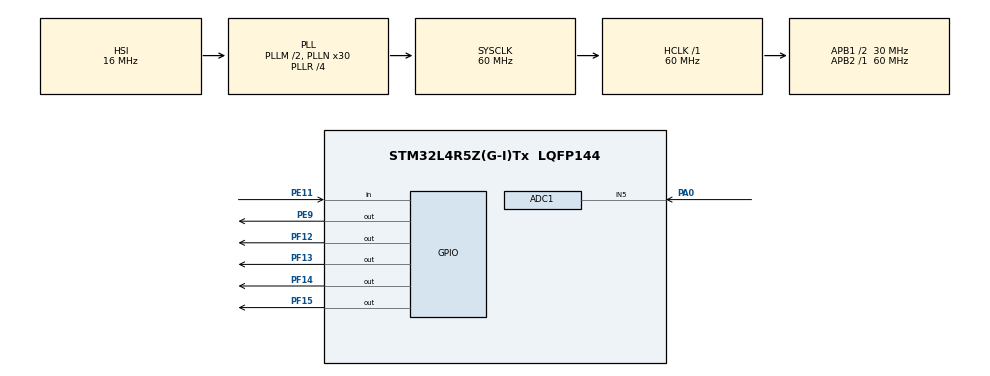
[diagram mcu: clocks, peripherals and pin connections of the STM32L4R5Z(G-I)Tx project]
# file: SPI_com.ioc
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ADC1.Channel-0\#ChannelRegularConversion=ADC_CHANNEL_5
ADC1.NbrOfConversionFlag=1
ADC1.OffsetNumber-0\#ChannelRegularConversion=ADC_OFFSET_NONE
ADC1.Rank-0\#ChannelRegularConversion=1
ADC1.SamplingTime-0\#ChannelRegularConversion=ADC_SAMPLETIME_2CYCLES_5
ADC1.master=1
Mcu.Family=STM32L4
Mcu.Name=STM32L4R5Z(G-I)Tx
Mcu.Package=LQFP144
NVIC.PriorityGroup=NVIC_PRIORITYGROUP_4
NVIC.TIM3_IRQn=true\:0\:0\:false\:false\:true\:true\:true\:true
PA0.Signal=ADCx_IN5
PE11.Signal=GPIO_Input
PE9.Signal=GPIO_Output
PF12.Signal=GPIO_Output
PF13.PinState=GPIO_PIN_SET
PF13.Signal=GPIO_Output
PF14.Signal=GPIO_Output
PF15.Signal=GPIO_Output
ProjectManager.HeapSize=0x200
ProjectManager.StackSize=0x400
ProjectManager.TargetToolchain=STM32CubeIDE
RCC.48MHZClocksFreq_Value=24000000
RCC.ADCFreq_Value=96000000
RCC.AHBFreq_Value=60000000
RCC.APB1CLKDivider=RCC_HCLK_DIV2
RCC.APB1Freq_Value=30000000
RCC.APB1TimFreq_Value=60000000
RCC.APB2Freq_Value=60000000
RCC.APB2TimFreq_Value=60000000
RCC.CK48CLockSelection=RCC_USBCLKSOURCE_HSI48
RCC.CortexFreq_Value=60000000
RCC.HCLKFreq_Value=60000000
RCC.HSE_VALUE=8000000
RCC.HSI48_VALUE=48000000
RCC.HSI_VALUE=16000000
RCC.LSE_VALUE=32768
RCC.MSI_VALUE=4000000
RCC.PLLM1=2
RCC.PLLMUL=RCC_PLL_MUL9
RCC.PLLN=30
RCC.PLLR=RCC_PLLR_DIV4
RCC.PLLSAI1N=12
RCC.PLLSourceVirtual=RCC_PLLSOURCE_HSI
RCC.PRESCALERUSB=RCC_USBCLKSOURCE_PLL_DIV1_5
RCC.SYSCLKFreq_VALUE=60000000
RCC.SYSCLKSource=RCC_SYSCLKSOURCE_PLLCLK
RCC.SYSCLKSourceVirtual=RCC_SYSCLKSOURCE_PLLCLK
RCC.USBFreq_Value=48000000
RCC.VCOOutputFreq_Value=240000000
SH.ADCx_IN5.0=ADC1_IN5,IN5-Single-Ended
TIM3.Period=60000-1
TIM3.Prescaler=0
TIM3.TIM_MasterOutputTrigger=TIM_TRGO_RESET
VP_TIM3_VS_ClockSourceITR.Mode=TriggerSource_ITR0
VP_TIM3_VS_ControllerModeReset.Mode=Reset Mode
board=NUCLEO-L4R5ZI

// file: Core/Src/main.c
/* USER CODE BEGIN Header */
/**
  ******************************************************************************
  * @file           : main.c
  * @brief          : Main program body
  ******************************************************************************
  * @attention
  *
  * Copyright (c) 2023 STMicroelectronics.
  * All rights reserved.
  *
  * This software is licensed under terms that can be found in the LICENSE file
  * in the root directory of this software component.
  * If no LICENSE file comes with this software, it is provided AS-IS.
  *
  ******************************************************************************
  */
/* USER CODE END Header */
#include "main.h"

/* USER CODE BEGIN Includes */
#include <stdio.h>
/* USER CODE END Includes */

/* USER CODE BEGIN PD */
#define SHUTDOWN_0         0x0C00
#define SHUTDOWN_1         0x0C01
#define TEST_DISPLAY_EXIT  0x0FFC
#define TEST_DISPLAY_ENTER 0x0FFD
#define DECODE_MODE        0x0900
#define INTENSITY          0x0A05
#define SCAN_LIMIT         0x0B0F
/* USER CODE END PD */

ADC_HandleTypeDef hadc1;

TIM_HandleTypeDef htim3;

void SystemClock_Config(void);
static void MX_GPIO_Init(void);
static void MX_TIM3_Init(void);
static void MX_ADC1_Init(void);
/* USER CODE BEGIN PFP */
void SPI_init_device1();
void SPI_stop_device1();
void SPI_init_device2();
void SPI_stop_device2();
void SPI_init(uint8_t deviceNr);
void SPI_stop(uint8_t deviceNr);

void SPI_writeBit(uint16_t bit);
void SPI_writeData(uint16_t data[], uint8_t dataSize, uint8_t deviceNr);
void SPI_writeWord(uint16_t word, uint8_t deviceNr);

void SPI_draw(char img[8], uint8_t deviceNr);
void SPI_draw_numbers();
char (*numberSelect(int nr));

void ResetFunc();
void blink_LED();
/* USER CODE END PFP */

/* USER CODE BEGIN 0 */

unsigned long counter = 0;
int seconds = 60;
char zero[8]={0b00111100,
  		  	  0b01100110,
  			  0b01100110,
  			  0b01100110,
  		      0b01100110,
  			  0b01100110,
  			  0b01100110,
  			  0b00111100};

char one[8]={ 0b00111000,
		  	  0b01111000,
			  0b00011000,
			  0b00011000,
		      0b00011000,
			  0b00011000,
			  0b00011000,
			  0b01111110};

char two[8]={ 0b00111100,
		  	  0b01100110,
			  0b00000110,
			  0b00001100,
		      0b00011000,
			  0b00110000,
			  0b01111110,
			  0b01111110};

char three[8]={0b00111100,
		  	   0b01100110,
			   0b00000110,
			   0b00011110,
		       0b00011100,
			   0b00000110,
			   0b01100110,
			   0b00111100};

char four[8]={0b00001100,
		  	  0b00011100,
			  0b00101100,
			  0b01101100,
		      0b01111110,
			  0b00001100,
			  0b00001100,
			  0b00011110};

char five[8]={0b01111110,
		  	  0b01111110,
			  0b01100000,
			  0b01111100,
		      0b00000110,
			  0b00000110,
			  0b01100110,
			  0b01111100};

char six[8]={ 0b00111100,
		  	  0b01100110,
			  0b01100000,
			  0b01100000,
		      0b01111100,
			  0b01100110,
			  0b01100110,
			  0b00111100};

char seven[8]={0b01111110,
		  	   0b01100110,
			   0b00000110,
			   0b00000110,
		       0b00001100,
			   0b00011000,
			   0b00110000,
			   0b00110000};

char eight[8]={0b00111100,
		  	   0b01100110,
			   0b01100110,
			   0b00111100,
		       0b00111100,
			   0b01100110,
			   0b01100110,
			   0b00111100};

char nine[8]={0b00111100,
		  	  0b01100110,
			  0b01100110,
			  0b00111110,
		      0b00000110,
			  0b00000110,
			  0b01100110,
			  0b00111100};

char Skull [8]={0b00000000,0b01111100,0b11001111,0b11001101,0b11111101,0b11001101,0b11001111,0b01111100};
//char Heart [8]={0b01100000,0b11110000,0b11111000,0b01111100,0b01111100,0b11111000,0b11110000,0b01100000};

/* USER CODE END 0 */

int main(void)
{

  /* MCU Configuration--------------------------------------------------------*/

  /* Reset of all peripherals, Initializes the Flash interface and the Systick. */
  HAL_Init();

  /* Configure the system clock */
  SystemClock_Config();

  /* Initialize all configured peripherals */
  MX_GPIO_Init();
  MX_TIM3_Init();
  MX_ADC1_Init();
  /* USER CODE BEGIN 2 */
  const uint8_t  dataSize = 6 ;
  //instruction list for starting the displays
  uint16_t data1[6] = {TEST_DISPLAY_ENTER, TEST_DISPLAY_EXIT, DECODE_MODE, INTENSITY, SCAN_LIMIT, SHUTDOWN_1};
  //writing the startup instructions for each display
  SPI_writeData(data1, dataSize,1);
  SPI_writeData(data1, dataSize,2);
  HAL_TIM_Base_Start_IT(&htim3);
  /* USER CODE END 2 */

  /* Infinite loop */
  while (1)
  {

    /* USER CODE BEGIN 3 */
	  //display refresh
	  SPI_draw_numbers();
	  HAL_Delay(500);
	  //blink_LED();
  }
  /* USER CODE END 3 */
}

void SystemClock_Config(void)
{
  RCC_OscInitTypeDef RCC_OscInitStruct = {0};
  RCC_ClkInitTypeDef RCC_ClkInitStruct = {0};

  /** Configure the main internal regulator output voltage
  */
  if (HAL_PWREx_ControlVoltageScaling(PWR_REGULATOR_VOLTAGE_SCALE1) != HAL_OK)
  {
    Error_Handler();
  }

  /** Initializes the RCC Oscillators according to the specified parameters
  * in the RCC_OscInitTypeDef structure.
  */
  RCC_OscInitStruct.OscillatorType = RCC_OSCILLATORTYPE_HSI;
  RCC_OscInitStruct.HSIState = RCC_HSI_ON;
  RCC_OscInitStruct.HSICalibrationValue = RCC_HSICALIBRATION_DEFAULT;
  RCC_OscInitStruct.PLL.PLLState = RCC_PLL_ON;
  RCC_OscInitStruct.PLL.PLLSource = RCC_PLLSOURCE_HSI;
  RCC_OscInitStruct.PLL.PLLM = 2;
  RCC_OscInitStruct.PLL.PLLN = 30;
  RCC_OscInitStruct.PLL.PLLP = RCC_PLLP_DIV2;
  RCC_OscInitStruct.PLL.PLLQ = RCC_PLLQ_DIV2;
  RCC_OscInitStruct.PLL.PLLR = RCC_PLLR_DIV4;
  if (HAL_RCC_OscConfig(&RCC_OscInitStruct) != HAL_OK)
  {
    Error_Handler();
  }

  /** Initializes the CPU, AHB and APB buses clocks
  */
  RCC_ClkInitStruct.ClockType = RCC_CLOCKTYPE_HCLK|RCC_CLOCKTYPE_SYSCLK
                              |RCC_CLOCKTYPE_PCLK1|RCC_CLOCKTYPE_PCLK2;
  RCC_ClkInitStruct.SYSCLKSource = RCC_SYSCLKSOURCE_PLLCLK;
  RCC_ClkInitStruct.AHBCLKDivider = RCC_SYSCLK_DIV1;
  RCC_ClkInitStruct.APB1CLKDivider = RCC_HCLK_DIV2;
  RCC_ClkInitStruct.APB2CLKDivider = RCC_HCLK_DIV1;

  if (HAL_RCC_ClockConfig(&RCC_ClkInitStruct, FLASH_LATENCY_2) != HAL_OK)
  {
    Error_Handler();
  }
}

static void MX_ADC1_Init(void)
{

  ADC_ChannelConfTypeDef sConfig = {0};

  /** Common config
  */
  hadc1.Instance = ADC1;
  hadc1.Init.ClockPrescaler = ADC_CLOCK_ASYNC_DIV2;
  hadc1.Init.Resolution = ADC_RESOLUTION_12B;
  hadc1.Init.DataAlign = ADC_DATAALIGN_RIGHT;
  hadc1.Init.ScanConvMode = ADC_SCAN_DISABLE;
  hadc1.Init.EOCSelection = ADC_EOC_SINGLE_CONV;
  hadc1.Init.LowPowerAutoWait = DISABLE;
  hadc1.Init.ContinuousConvMode = DISABLE;
  hadc1.Init.NbrOfConversion = 1;
  hadc1.Init.DiscontinuousConvMode = DISABLE;
  hadc1.Init.ExternalTrigConv = ADC_SOFTWARE_START;
  hadc1.Init.ExternalTrigConvEdge = ADC_EXTERNALTRIGCONVEDGE_NONE;
  hadc1.Init.DMAContinuousRequests = DISABLE;
  hadc1.Init.Overrun = ADC_OVR_DATA_PRESERVED;
  hadc1.Init.OversamplingMode = DISABLE;
  if (HAL_ADC_Init(&hadc1) != HAL_OK)
  {
    Error_Handler();
  }

  /** Configure Regular Channel
  */
  sConfig.Channel = ADC_CHANNEL_5;
  sConfig.Rank = ADC_REGULAR_RANK_1;
  sConfig.SamplingTime = ADC_SAMPLETIME_2CYCLES_5;
  sConfig.SingleDiff = ADC_SINGLE_ENDED;
  sConfig.OffsetNumber = ADC_OFFSET_NONE;
  sConfig.Offset = 0;
  if (HAL_ADC_ConfigChannel(&hadc1, &sConfig) != HAL_OK)
  {
    Error_Handler();
  }

}

static void MX_TIM3_Init(void)
{

  TIM_SlaveConfigTypeDef sSlaveConfig = {0};
  TIM_MasterConfigTypeDef sMasterConfig = {0};

  htim3.Instance = TIM3;
  htim3.Init.Prescaler = 0;
  htim3.Init.CounterMode = TIM_COUNTERMODE_UP;
  htim3.Init.Period = 60000-1;
  htim3.Init.ClockDivision = TIM_CLOCKDIVISION_DIV1;
  htim3.Init.AutoReloadPreload = TIM_AUTORELOAD_PRELOAD_DISABLE;
  if (HAL_TIM_Base_Init(&htim3) != HAL_OK)
  {
    Error_Handler();
  }
  sSlaveConfig.SlaveMode = TIM_SLAVEMODE_RESET;
  sSlaveConfig.InputTrigger = TIM_TS_ITR0;
  if (HAL_TIM_SlaveConfigSynchro(&htim3, &sSlaveConfig) != HAL_OK)
  {
    Error_Handler();
  }
  sMasterConfig.MasterOutputTrigger = TIM_TRGO_RESET;
  sMasterConfig.MasterSlaveMode = TIM_MASTERSLAVEMODE_DISABLE;
  if (HAL_TIMEx_MasterConfigSynchronization(&htim3, &sMasterConfig) != HAL_OK)
  {
    Error_Handler();
  }

}

static void MX_GPIO_Init(void)
{
  GPIO_InitTypeDef GPIO_InitStruct = {0};

  /* GPIO Ports Clock Enable */
  __HAL_RCC_GPIOA_CLK_ENABLE();
  __HAL_RCC_GPIOF_CLK_ENABLE();
  __HAL_RCC_GPIOE_CLK_ENABLE();

  /*Configure GPIO pin Output Level */
  HAL_GPIO_WritePin(GPIOF, GPIO_PIN_12|GPIO_PIN_14|GPIO_PIN_15, GPIO_PIN_RESET);

  /*Configure GPIO pin Output Level */
  HAL_GPIO_WritePin(GPIOF, GPIO_PIN_13, GPIO_PIN_SET);

  /*Configure GPIO pin Output Level */
  HAL_GPIO_WritePin(GPIOE, GPIO_PIN_9, GPIO_PIN_RESET);

  /*Configure GPIO pins : PF12 PF13 PF14 PF15 */
  GPIO_InitStruct.Pin = GPIO_PIN_12|GPIO_PIN_13|GPIO_PIN_14|GPIO_PIN_15;
  GPIO_InitStruct.Mode = GPIO_MODE_OUTPUT_PP;
  GPIO_InitStruct.Pull = GPIO_NOPULL;
  GPIO_InitStruct.Speed = GPIO_SPEED_FREQ_LOW;
  HAL_GPIO_Init(GPIOF, &GPIO_InitStruct);

  /*Configure GPIO pin : PE9 */
  GPIO_InitStruct.Pin = GPIO_PIN_9;
  GPIO_InitStruct.Mode = GPIO_MODE_OUTPUT_PP;
  GPIO_InitStruct.Pull = GPIO_NOPULL;
  GPIO_InitStruct.Speed = GPIO_SPEED_FREQ_LOW;
  HAL_GPIO_Init(GPIOE, &GPIO_InitStruct);

  /*Configure GPIO pin : PE11 */
  GPIO_InitStruct.Pin = GPIO_PIN_11;
  GPIO_InitStruct.Mode = GPIO_MODE_INPUT;
  GPIO_InitStruct.Pull = GPIO_NOPULL;
  HAL_GPIO_Init(GPIOE, &GPIO_InitStruct);

}

/* USER CODE BEGIN 4 */
/* this section contains the functions necessary for selecting and disabling a display
 * SPI_init_device1() -- moves chip select from high to low for device 1
 * SPI_init_device2() -- moves chip select from high to low for device 2
 * SPI_stop_device1() -- on the rising edge of the clock puts the CS signal on high disabling device 1
 * SPI_stop_device2() -- on the rising edge of the clock puts the CS signal on high disabling device 2
 *
 * SPI_init(uint8_t deviceNr) -- selects the right device according to the parameter
 * SPI_stop(uint8_t deviceNr) -- disables the right device according to the parameter
*/
//-------------------------------------------------------------------------------------------------
void SPI_init_device1()
{
	HAL_GPIO_WritePin(GPIOF, GPIO_PIN_13, GPIO_PIN_SET);
	HAL_GPIO_WritePin(GPIOF, GPIO_PIN_13, GPIO_PIN_RESET);
}

void SPI_stop_device1()
{
	HAL_GPIO_WritePin(GPIOE, GPIO_PIN_9, GPIO_PIN_RESET);
	HAL_GPIO_WritePin(GPIOF, GPIO_PIN_13, GPIO_PIN_SET);
	HAL_GPIO_WritePin(GPIOE, GPIO_PIN_9, GPIO_PIN_SET);
}

void SPI_init_device2()
{
	HAL_GPIO_WritePin(GPIOF, GPIO_PIN_15, GPIO_PIN_SET);
	HAL_GPIO_WritePin(GPIOF, GPIO_PIN_15, GPIO_PIN_RESET);
}

void SPI_stop_device2()
{
	HAL_GPIO_WritePin(GPIOE, GPIO_PIN_9, GPIO_PIN_RESET);
	HAL_GPIO_WritePin(GPIOF, GPIO_PIN_15, GPIO_PIN_SET);
	HAL_GPIO_WritePin(GPIOE, GPIO_PIN_9, GPIO_PIN_SET);
}

void SPI_init(uint8_t deviceNr)
{
	if(deviceNr == 1)
	{
		SPI_init_device1();
	}
	else
	{
		SPI_init_device2();
	}
}

void SPI_stop(uint8_t deviceNr)
{
	if(deviceNr == 1)
	{
		SPI_stop_device1();
	}
	else
	{
		SPI_stop_device2();
	}
}
//-------------------------------------------------------------------------------------------------

/* this section contains the functions necessary in writing the data, and establishing the SPI sync
 * SPI_writeBit(uint16_t bit)
 * 		-- puts the clock on low, writes the bit it received, then puts the clock back on high
 * 		   so that the data is stable and written on the rising edge
 *
 * SPI_writeWord(uint16_t word,uint8_t deviceNr)
 * 		-- writes a 16bit long data packet, starting with the SPI_init(deviceNr); function and ,
 * 		   after the data is sent bit by bit starting with MSB, it calls the SPI_stop(deviceNr); function
 *
 * void SPI_writeData(uint16_t *data, uint8_t dataSize, uint8_t deviceNr)
 * 		-- loops through every word in the data array
*/
//-------------------------------------------------------------------------------------------------
void SPI_writeBit(uint16_t bit)
{
	HAL_GPIO_WritePin(GPIOE, GPIO_PIN_9, GPIO_PIN_RESET);
		if(bit == 0)
		{
			HAL_GPIO_WritePin(GPIOF, GPIO_PIN_14, GPIO_PIN_RESET);
		}
		else
		{
			HAL_GPIO_WritePin(GPIOF, GPIO_PIN_14, GPIO_PIN_SET);
		}
	HAL_GPIO_WritePin(GPIOE, GPIO_PIN_9, GPIO_PIN_SET);
}

void SPI_writeWord(uint16_t word,uint8_t deviceNr)
{
	SPI_init(deviceNr);
	for(uint8_t i=0; i<16 ; i++)
	{
		SPI_writeBit((word & (1<<15)) >> 15);
		word <<= 1;
	}
	SPI_stop(deviceNr);
}

void SPI_writeData(uint16_t *data, uint8_t dataSize, uint8_t deviceNr)
{
	for(uint8_t i=0; i<dataSize ; i++)
	{
		SPI_writeWord(data[i], deviceNr);
		HAL_Delay(1);
	}
}
//-------------------------------------------------------------------------------------------------

/* this section contains the functions necessary for displaying images
 * SPI_draw(char img[8], uint8_t deviceNr)
 * 		-- writes the data in the registers responsible with LED activation (displays the received data)
 *
 * SPI_draw_numbers(uint8_t nr)
 * 		-- splits the number given and maps it on the two displays
 *
 * char (*numberSelect(int nr))
 * 		-- returns the array corresponding to the given number
*/
//-------------------------------------------------------------------------------------------------
void SPI_draw(char img[8], uint8_t deviceNr)
{
	uint16_t displayWord = 0;

	for (int i=1;i<9;i++)
	{
		displayWord = 0;
		displayWord = (i<<8) | img[i-1];
		SPI_writeWord(displayWord,deviceNr);
	}
}

char (*numberSelect(int nr))
{
	switch (nr)
	  {
	  case 0:
	  return zero;
	  case 1:
	  return one;
	  case 2:
	  return two;
	  case 3:
	  return three;
	  case 4:
	  return four;
	  case 5:
	  return five;
	  case 6:
	  return six;
	  case 7:
	  return seven;
	  case 8:
	  return eight;
	  case 9:
	  return nine;

	  default:
	  return Skull;
	  }
}
//-------------------------------------------------------------------------------------------------

/* HAL_TIM_PeriodElapsedCallback(TIM_HandleTypeDef *htim)
 * 		-- this functions represents the timer interrupt, once every 0,001 seconds
 * 		   if the timer counter variable reaches one second it updates the variable
 * 		   that holds the seconds, and resets the seconds when they reach 0
*/
void HAL_TIM_PeriodElapsedCallback(TIM_HandleTypeDef *htim)
{
	if(htim == &htim3)
	{
		counter++;
		if(counter % 1000 ==0)
		{
			seconds--;
			if(seconds < 0)
			{
				seconds = 59;
			}
		}
	}
}

void blink_LED()
{
	HAL_GPIO_TogglePin(GPIOF, GPIO_PIN_12);
}

int auxBtnValue=0;
int comp ;

void SPI_draw_numbers()
{

	if(seconds>9)
		{
			SPI_draw(numberSelect(seconds%10),1);
			SPI_draw(numberSelect(seconds/10),2);
		}
		else
		{
			SPI_draw(numberSelect(seconds),1);
			SPI_draw(zero,2);
		}

}

/* USER CODE END 4 */

void Error_Handler(void)
{
  __disable_irq();
  while (1)
  {
  }
}
